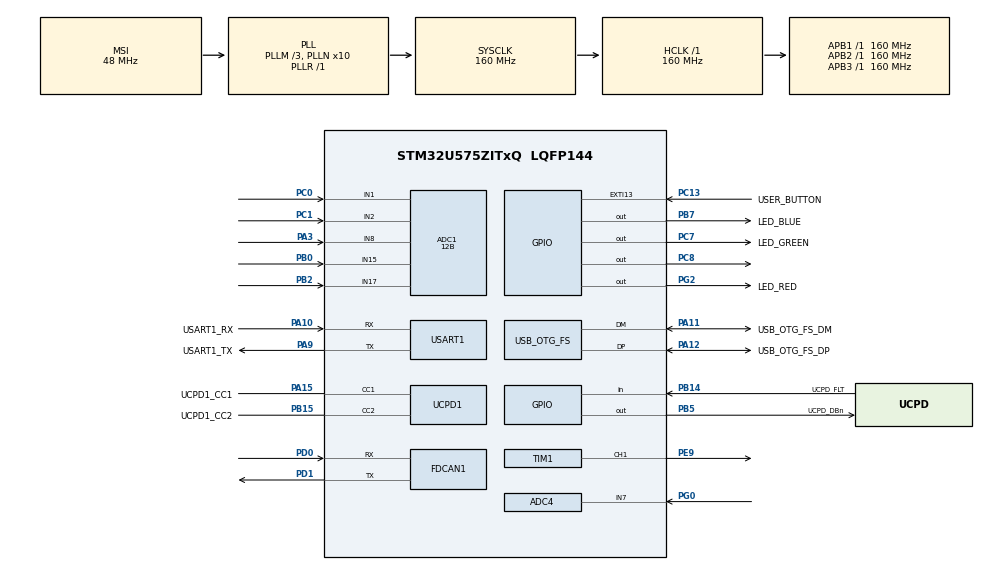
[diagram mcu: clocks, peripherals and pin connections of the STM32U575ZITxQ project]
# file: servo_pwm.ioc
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ADC1.EnableRegularConversion=DISABLE
ADC1.NbrOfConversion=1
ADC1.Resolution=ADC_RESOLUTION_12B
ADC1.master=1
ADC4.NbrOfConversion=1
ADC4.NbrOfConversionFlag=0
ADC4.SelectedChannel=ADC_CHANNEL_7
CORTEX_M33_NS.userName=CORTEX_M33
FDCAN1.AutoRetransmission=ENABLE
FDCAN1.CalculateBaudRateNominal=500000
FDCAN1.CalculateTimeBitNominal=2000
FDCAN1.CalculateTimeQuantumNominal=100.0
FDCAN1.DataPrescaler=1
FDCAN1.DataSyncJumpWidth=16
FDCAN1.DataTimeSeg1=23
FDCAN1.DataTimeSeg2=16
FDCAN1.ExtFiltersNbr=1
FDCAN1.FrameFormat=FDCAN_FRAME_FD_BRS
FDCAN1.NominalPrescaler=4
FDCAN1.NominalSyncJumpWidth=3
FDCAN1.NominalTimeSeg1=16
FDCAN1.NominalTimeSeg2=3
FDCAN1.StdFiltersNbr=1
Mcu.Family=STM32U5
Mcu.Name=STM32U575ZITxQ
Mcu.Package=LQFP144
NVIC.FDCAN1_IT0_IRQn=true\:0\:0\:false\:false\:true\:true\:true\:true
NVIC.OTG_FS_IRQn=true\:0\:0\:false\:false\:true\:true\:true\:true
NVIC.PriorityGroup=NVIC_PRIORITYGROUP_3
PA10.GPIO_Label=USART1_RX
PA10.GPIO_PuPd=GPIO_PULLDOWN
PA10.GPIO_Speed=GPIO_SPEED_FREQ_VERY_HIGH
PA10.Mode=Asynchronous
PA10.Signal=USART1_RX
PA11.GPIO_Label=USB_OTG_FS_DM
PA11.GPIO_Speed=GPIO_SPEED_FREQ_VERY_HIGH
PA11.Mode=Device_Only
PA11.Signal=USB_OTG_FS_DM
PA12.GPIO_Label=USB_OTG_FS_DP
PA12.GPIO_Speed=GPIO_SPEED_FREQ_VERY_HIGH
PA12.Mode=Device_Only
PA12.Signal=USB_OTG_FS_DP
PA13\ (JTMS/SWDIO).Mode=Trace_Asynchronous_SW
PA13\ (JTMS/SWDIO).Signal=DEBUG_JTMS-SWDIO
PA14\ (JTCK/SWCLK).Mode=Trace_Asynchronous_SW
PA14\ (JTCK/SWCLK).Signal=DEBUG_JTCK-SWCLK
PA15\ (JTDI).GPIO_Label=UCPD1_CC1
PA15\ (JTDI).Mode=Sink_AllSignals
PA15\ (JTDI).Signal=UCPD1_CC1
PA3.Mode=IN8-Single-Ended
PA3.Signal=ADC1_IN8
PA9.GPIO_Label=USART1_TX
PA9.GPIO_PuPd=GPIO_PULLDOWN
PA9.GPIO_Speed=GPIO_SPEED_FREQ_VERY_HIGH
PA9.Mode=Asynchronous
PA9.Signal=USART1_TX
PB0.Mode=IN15-Single-Ended
PB0.Signal=ADC1_IN15
PB14.GPIO_Label=UCPD_FLT
PB14.Signal=GPIO_Input
PB15.GPIO_Label=UCPD1_CC2
PB15.Mode=Sink_AllSignals
PB15.Signal=UCPD1_CC2
PB2.Mode=IN17-Single-Ended
PB2.Signal=ADC1_IN17
PB3\ (JTDO/TRACESWO).Mode=Trace_Asynchronous_SW
PB3\ (JTDO/TRACESWO).Signal=DEBUG_JTDO-SWO
PB5.GPIO_Label=UCPD_DBn
PB5.Signal=GPIO_Output
PB7.GPIO_Label=LED_BLUE
PB7.GPIO_ModeDefaultOutputPP=GPIO_MODE_OUTPUT_PP
PB7.GPIO_PuPd=GPIO_PULLUP
PB7.GPIO_Speed=GPIO_SPEED_FREQ_HIGH
PB7.Signal=GPIO_Output
PC0.Mode=IN1-Single-Ended
PC0.Signal=ADC1_IN1
PC1.Mode=IN2-Single-Ended
PC1.Signal=ADC1_IN2
PC13.GPIO_Label=USER_BUTTON
PC13.GPIO_ModeDefaultEXTI=GPIO_MODE_IT_FALLING
PC13.Signal=GPXTI13
PC14-OSC32_IN\ (PC14).Mode=LSE-External-Oscillator
PC14-OSC32_IN\ (PC14).Signal=RCC_OSC32_IN
PC15-OSC32_OUT\ (PC15).Mode=LSE-External-Oscillator
PC15-OSC32_OUT\ (PC15).Signal=RCC_OSC32_OUT
PC7.GPIO_Label=LED_GREEN
PC7.GPIO_PuPd=GPIO_PULLUP
PC7.GPIO_Speed=GPIO_SPEED_FREQ_HIGH
PC7.Signal=GPIO_Output
PC8.Signal=GPIO_Output
PD0.Mode=FDCAN_Activate
PD0.Signal=FDCAN1_RX
PD1.Mode=FDCAN_Activate
PD1.Signal=FDCAN1_TX
PE9.Signal=S_TIM1_CH1
PG0.Mode=IN7
PG0.Signal=ADC4_IN7
PG2.GPIO_Label=LED_RED
PG2.GPIO_ModeDefaultOutputPP=GPIO_MODE_OUTPUT_PP
PG2.GPIO_PuPd=GPIO_PULLUP
PG2.GPIO_Speed=GPIO_SPEED_FREQ_HIGH
PG2.Signal=GPIO_Output
PWR.PowerMode=PWR_SMPS_SUPPLY
ProjectManager.HeapSize=0x200
ProjectManager.StackSize=0x400
ProjectManager.TargetToolchain=STM32CubeIDE
RCC.ADCFreq_Value=16000000
RCC.AHBFreq_Value=160000000
RCC.APB1Freq_Value=160000000
RCC.APB1TimFreq_Value=160000000
RCC.APB2Freq_Value=160000000
RCC.APB2TimFreq_Value=160000000
RCC.APB3Freq_Value=160000000
RCC.CortexFreq_Value=160000000
RCC.DACCLockSelectionVirtual=RCC_DAC1CLKSOURCE_LSI
RCC.EPOD_VALUE=48000000
RCC.HCLKFreq_Value=160000000
RCC.HSE_VALUE=16000000
RCC.HSI48_VALUE=48000000
RCC.HSI_VALUE=16000000
RCC.LSIDIV_VALUE=32000
RCC.MSIClockRange=RCC_MSIRANGE_0
RCC.MSI_VALUE=48000000
RCC.PLL1Q=4
RCC.PLL1R=1
RCC.PLLFRACN=0
RCC.PLLM=3
RCC.PLLN=10
RCC.SYSCLKFreq_VALUE=160000000
RCC.SYSCLKSource=RCC_SYSCLKSOURCE_PLLCLK
RCC.USBFreq_Value=48000000
RCC.VCOOutputFreq_Value=160000000
SH.S_TIM1_CH1.0=TIM1_CH1,PWM Generation1 CH1
TIM1.Channel-PWM\ Generation1\ CH1=TIM_CHANNEL_1
TIM1.PeriodNoDither=19999
TIM1.Prescaler=159
USART1.VirtualMode-Asynchronous=VM_ASYNC
USB_OTG_FS.VirtualMode=Device_Only
VP_ADC1_Vref_Input.Mode=IN-Vrefint
VP_ICACHE_VS_ENABLE_ICACHE_MEMORY.Mode=Memoryregions
VP_ICACHE_VS_ICACHE.Mode=DirectMappedCache
VP_LPBAMQUEUE_VS_QUEUE.Mode=QUEUEMODE
VP_LPBAM_VS_SIG1.Mode=SmartRun
VP_LPBAM_VS_SIG4.Mode=LPDMA1
VP_MEMORYMAP_VS_MEMORYMAP.Mode=CurAppReg
VP_PWR_VS_DBSignals.Mode=DisableDeadBatterySignals
VP_PWR_VS_LPOM.Mode=PowerOptimisation
VP_PWR_VS_SECSignals.Mode=Security/Privilege
VP_PWR_Vdda.Mode=isolationVdda
VP_TIM1_VS_ClockSourceINT.Mode=Internal
board=NUCLEO-U575ZI-Q

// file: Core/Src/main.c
/* USER CODE BEGIN Header */
/**
  ******************************************************************************
  * @file           : main.c
  * @brief          : Main program body
  ******************************************************************************
  * @attention
  *
  * Copyright (c) 2025 STMicroelectronics.
  * All rights reserved.
  *
  * This software is licensed under terms that can be found in the LICENSE file
  * in the root directory of this software component.
  * If no LICENSE file comes with this software, it is provided AS-IS.
  *
  ******************************************************************************
  */
/* USER CODE END Header */
#include "main.h"

/* USER CODE BEGIN Includes */
#include <stdio.h>
#include "can.h"
/* USER CODE END Includes */

ADC_HandleTypeDef hadc1;
ADC_HandleTypeDef hadc4;

FDCAN_HandleTypeDef hfdcan1;

TIM_HandleTypeDef htim1;

UART_HandleTypeDef huart1;

PCD_HandleTypeDef hpcd_USB_OTG_FS;

void SystemClock_Config(void);
static void SystemPower_Config(void);
static void MX_GPIO_Init(void);
static void MX_ADC1_Init(void);
static void MX_ICACHE_Init(void);
static void MX_UCPD1_Init(void);
static void MX_USART1_UART_Init(void);
static void MX_USB_OTG_FS_PCD_Init(void);
static void MX_ADC4_Init(void);
static void MX_FDCAN1_Init(void);
static void MX_TIM1_Init(void);
/* USER CODE BEGIN PFP */
#ifdef __GNUC__
/* With GCC/RAISONANCE, small printf (option LD Linker->Libraries->Small printf
   set to 'Yes') calls __io_putchar() */
#define PUTCHAR_PROTOTYPE int __io_putchar(int ch)
#else
#define PUTCHAR_PROTOTYPE int fputc(int ch, FILE *f)
#endif /* __GNUC__ */
/* USER CODE END PFP */

int main(void)
{

  /* MCU Configuration--------------------------------------------------------*/

  /* Reset of all peripherals, Initializes the Flash interface and the Systick. */
  HAL_Init();

  /* Configure the System Power */
  SystemPower_Config();

  /* Configure the system clock */
  SystemClock_Config();

  /* Initialize all configured peripherals */
  MX_GPIO_Init();
  MX_ADC1_Init();
  MX_ICACHE_Init();
  MX_UCPD1_Init();
  MX_USART1_UART_Init();
  MX_USB_OTG_FS_PCD_Init();
  MX_ADC4_Init();
  MX_FDCAN1_Init();
  MX_TIM1_Init();
  /* USER CODE BEGIN 2 */

  CAN_Init(&hfdcan1);

  	 //.

   	//Adding CAN Filter
   	FDCAN_FilterTypeDef sFilterConfig = {0};
   	sFilterConfig.IdType = FDCAN_STANDARD_ID;
   	sFilterConfig.FilterIndex = 0;
   	sFilterConfig.FilterType = FDCAN_FILTER_MASK;

   	sFilterConfig.FilterConfig = FDCAN_FILTER_TO_RXFIFO0;
   	sFilterConfig.FilterID1 = 0x000;
   	sFilterConfig.FilterID2 = 0x000; // Accept all

   	if (HAL_FDCAN_ConfigFilter(&hfdcan1, &sFilterConfig) != HAL_OK) {
   	    Error_Handler();
   	}

   	sFilterConfig.FilterConfig = FDCAN_FILTER_TO_RXFIFO1;
   	sFilterConfig.FilterID1 = 0x1111111;
   	sFilterConfig.FilterID2 = 0x2222222;

   	//FilterConfig.FilterID2 = 0x7FF; ????

   	  /* Configure global filter:
   	     Filter all remote frames with STD and EXT ID
   	     Reject non matching frames with STD ID and EXT ID */

   	//set an interrupt when a message is sent
   	  if (HAL_FDCAN_ActivateNotification(&hfdcan1, FDCAN_IT_RX_FIFO0_NEW_MESSAGE, 0) != HAL_OK)
   	  {
   	    Error_Handler();
   	  }

   	  if (HAL_FDCAN_ActivateNotification(&hfdcan1, FDCAN_IT_RX_FIFO1_NEW_MESSAGE, 0) != HAL_OK)
   	  {
   	    Error_Handler();
   	  }

  CAN_SetRxBufferSize(64, 64);

  HAL_FDCAN_Start(&hfdcan1);

  HAL_TIM_PWM_Start(&htim1 , TIM_CHANNEL_1); //start the pwm timer pass in the timer handler and the channel

  /* USER CODE END 2 */

  /* Infinite loop */
  /* USER CODE BEGIN WHILE */

  float min_pulse = 0 ;
  float max_pulse = 0 ;
  float pulse = 0 ;
  uint32_t ccr_value =0 ;

  while (1)
  {

	  //printf("Servo PWM code \r\n");
	  printf("pwm : %f \r\n", angle);

	  // we need to map tha angle value that we receive to a value between 1 and 2 ms
	  //The servo reads only the length of the HIGH pulse at the start of each cycle, which varies to set position.
	  //that is why we go between 1 and 2 ms;

	  min_pulse = 500; // ticks for 1 ms
	  max_pulse = 2500; // ticks for 2 ms

	  //-90 would be mapped to min_pulse 1000
	  // +90 would be mapped to max pulse 2000
	  //0 sits at the middle
	  pulse = (min_pulse + ((((angle))+ 90) / 180.0f ) * (max_pulse - min_pulse));
	  ccr_value = (uint32_t)(pulse);

	  printf("the pwm pulse is %lu \r\n", ccr_value);

	  //this function receives an int (how long the timer should be on)
	  __HAL_TIM_SET_COMPARE(&htim1 , TIM_CHANNEL_1, ccr_value );//generate the pwm.S

	  HAL_Delay(1000);

    /* USER CODE END WHILE */

  }
}

void SystemClock_Config(void)
{
  RCC_OscInitTypeDef RCC_OscInitStruct = {0};
  RCC_ClkInitTypeDef RCC_ClkInitStruct = {0};

  /** Configure the main internal regulator output voltage
  */
  if (HAL_PWREx_ControlVoltageScaling(PWR_REGULATOR_VOLTAGE_SCALE1) != HAL_OK)
  {
    Error_Handler();
  }

  /** Initializes the CPU, AHB and APB buses clocks
  */
  RCC_OscInitStruct.OscillatorType = RCC_OSCILLATORTYPE_HSI48|RCC_OSCILLATORTYPE_HSI
                              |RCC_OSCILLATORTYPE_MSI;
  RCC_OscInitStruct.HSIState = RCC_HSI_ON;
  RCC_OscInitStruct.HSI48State = RCC_HSI48_ON;
  RCC_OscInitStruct.HSICalibrationValue = RCC_HSICALIBRATION_DEFAULT;
  RCC_OscInitStruct.MSIState = RCC_MSI_ON;
  RCC_OscInitStruct.MSICalibrationValue = RCC_MSICALIBRATION_DEFAULT;
  RCC_OscInitStruct.MSIClockRange = RCC_MSIRANGE_0;
  RCC_OscInitStruct.PLL.PLLState = RCC_PLL_ON;
  RCC_OscInitStruct.PLL.PLLSource = RCC_PLLSOURCE_MSI;
  RCC_OscInitStruct.PLL.PLLMBOOST = RCC_PLLMBOOST_DIV4;
  RCC_OscInitStruct.PLL.PLLM = 3;
  RCC_OscInitStruct.PLL.PLLN = 10;
  RCC_OscInitStruct.PLL.PLLP = 2;
  RCC_OscInitStruct.PLL.PLLQ = 4;
  RCC_OscInitStruct.PLL.PLLR = 1;
  RCC_OscInitStruct.PLL.PLLRGE = RCC_PLLVCIRANGE_1;
  RCC_OscInitStruct.PLL.PLLFRACN = 0;
  if (HAL_RCC_OscConfig(&RCC_OscInitStruct) != HAL_OK)
  {
    Error_Handler();
  }

  /** Initializes the CPU, AHB and APB buses clocks
  */
  RCC_ClkInitStruct.ClockType = RCC_CLOCKTYPE_HCLK|RCC_CLOCKTYPE_SYSCLK
                              |RCC_CLOCKTYPE_PCLK1|RCC_CLOCKTYPE_PCLK2
                              |RCC_CLOCKTYPE_PCLK3;
  RCC_ClkInitStruct.SYSCLKSource = RCC_SYSCLKSOURCE_PLLCLK;
  RCC_ClkInitStruct.AHBCLKDivider = RCC_SYSCLK_DIV1;
  RCC_ClkInitStruct.APB1CLKDivider = RCC_HCLK_DIV1;
  RCC_ClkInitStruct.APB2CLKDivider = RCC_HCLK_DIV1;
  RCC_ClkInitStruct.APB3CLKDivider = RCC_HCLK_DIV1;

  if (HAL_RCC_ClockConfig(&RCC_ClkInitStruct, FLASH_LATENCY_4) != HAL_OK)
  {
    Error_Handler();
  }
}

/**
  * @brief Power Configuration
  * @retval None
  */
static void SystemPower_Config(void)
{
  HAL_PWREx_EnableVddIO2();

  /*
   * Switch to SMPS regulator instead of LDO
   */
  if (HAL_PWREx_ConfigSupply(PWR_SMPS_SUPPLY) != HAL_OK)
  {
    Error_Handler();
  }
}

static void MX_ADC1_Init(void)
{

  /** Common config
  */
  hadc1.Instance = ADC1;
  hadc1.Init.ClockPrescaler = ADC_CLOCK_ASYNC_DIV1;
  hadc1.Init.Resolution = ADC_RESOLUTION_12B;
  hadc1.Init.GainCompensation = 0;
  hadc1.Init.ScanConvMode = ADC_SCAN_DISABLE;
  hadc1.Init.EOCSelection = ADC_EOC_SINGLE_CONV;
  hadc1.Init.LowPowerAutoWait = DISABLE;
  hadc1.Init.ContinuousConvMode = DISABLE;
  hadc1.Init.NbrOfConversion = 1;
  hadc1.Init.DiscontinuousConvMode = DISABLE;
  hadc1.Init.DMAContinuousRequests = DISABLE;
  hadc1.Init.TriggerFrequencyMode = ADC_TRIGGER_FREQ_HIGH;
  hadc1.Init.Overrun = ADC_OVR_DATA_PRESERVED;
  hadc1.Init.LeftBitShift = ADC_LEFTBITSHIFT_NONE;
  hadc1.Init.ConversionDataManagement = ADC_CONVERSIONDATA_DR;
  hadc1.Init.OversamplingMode = DISABLE;
  if (HAL_ADC_Init(&hadc1) != HAL_OK)
  {
    Error_Handler();
  }

}

static void MX_ADC4_Init(void)
{

  ADC_ChannelConfTypeDef sConfig = {0};

  /** Common config
  */
  hadc4.Instance = ADC4;
  hadc4.Init.ClockPrescaler = ADC_CLOCK_ASYNC_DIV1;
  hadc4.Init.Resolution = ADC_RESOLUTION_12B;
  hadc4.Init.DataAlign = ADC_DATAALIGN_RIGHT;
  hadc4.Init.ScanConvMode = ADC_SCAN_DIRECTION_FORWARD;
  hadc4.Init.EOCSelection = ADC_EOC_SINGLE_CONV;
  hadc4.Init.LowPowerAutoPowerOff = ADC_LOW_POWER_NONE;
  hadc4.Init.LowPowerAutoWait = DISABLE;
  hadc4.Init.ContinuousConvMode = DISABLE;
  hadc4.Init.NbrOfConversion = 1;
  hadc4.Init.DiscontinuousConvMode = DISABLE;
  hadc4.Init.ExternalTrigConv = ADC_SOFTWARE_START;
  hadc4.Init.ExternalTrigConvEdge = ADC_EXTERNALTRIGCONVEDGE_NONE;
  hadc4.Init.DMAContinuousRequests = DISABLE;
  hadc4.Init.TriggerFrequencyMode = ADC_TRIGGER_FREQ_LOW;
  hadc4.Init.Overrun = ADC_OVR_DATA_PRESERVED;
  hadc4.Init.SamplingTimeCommon1 = ADC4_SAMPLETIME_1CYCLE_5;
  hadc4.Init.SamplingTimeCommon2 = ADC4_SAMPLETIME_1CYCLE_5;
  hadc4.Init.OversamplingMode = DISABLE;
  if (HAL_ADC_Init(&hadc4) != HAL_OK)
  {
    Error_Handler();
  }

  /** Configure Regular Channel
  */
  sConfig.Channel = ADC_CHANNEL_7;
  sConfig.Rank = ADC4_RANK_CHANNEL_NUMBER;
  sConfig.SamplingTime = ADC4_SAMPLINGTIME_COMMON_1;
  sConfig.OffsetNumber = ADC_OFFSET_NONE;
  sConfig.Offset = 0;
  if (HAL_ADC_ConfigChannel(&hadc4, &sConfig) != HAL_OK)
  {
    Error_Handler();
  }

}

static void MX_FDCAN1_Init(void)
{

  hfdcan1.Instance = FDCAN1;
  hfdcan1.Init.ClockDivider = FDCAN_CLOCK_DIV1;
  hfdcan1.Init.FrameFormat = FDCAN_FRAME_FD_BRS;
  hfdcan1.Init.Mode = FDCAN_MODE_NORMAL;
  hfdcan1.Init.AutoRetransmission = ENABLE;
  hfdcan1.Init.TransmitPause = DISABLE;
  hfdcan1.Init.ProtocolException = DISABLE;
  hfdcan1.Init.NominalPrescaler = 4;
  hfdcan1.Init.NominalSyncJumpWidth = 3;
  hfdcan1.Init.NominalTimeSeg1 = 16;
  hfdcan1.Init.NominalTimeSeg2 = 3;
  hfdcan1.Init.DataPrescaler = 1;
  hfdcan1.Init.DataSyncJumpWidth = 16;
  hfdcan1.Init.DataTimeSeg1 = 23;
  hfdcan1.Init.DataTimeSeg2 = 16;
  hfdcan1.Init.StdFiltersNbr = 1;
  hfdcan1.Init.ExtFiltersNbr = 1;
  hfdcan1.Init.TxFifoQueueMode = FDCAN_TX_FIFO_OPERATION;
  if (HAL_FDCAN_Init(&hfdcan1) != HAL_OK)
  {
    Error_Handler();
  }

}

static void MX_ICACHE_Init(void)
{

  /** Enable instruction cache in 1-way (direct mapped cache)
  */
  if (HAL_ICACHE_ConfigAssociativityMode(ICACHE_1WAY) != HAL_OK)
  {
    Error_Handler();
  }
  if (HAL_ICACHE_Enable() != HAL_OK)
  {
    Error_Handler();
  }

}

static void MX_TIM1_Init(void)
{

  TIM_ClockConfigTypeDef sClockSourceConfig = {0};
  TIM_MasterConfigTypeDef sMasterConfig = {0};
  TIM_OC_InitTypeDef sConfigOC = {0};
  TIM_BreakDeadTimeConfigTypeDef sBreakDeadTimeConfig = {0};

  htim1.Instance = TIM1;
  htim1.Init.Prescaler = 159;
  htim1.Init.CounterMode = TIM_COUNTERMODE_UP;
  htim1.Init.Period = 19999;
  htim1.Init.ClockDivision = TIM_CLOCKDIVISION_DIV1;
  htim1.Init.RepetitionCounter = 0;
  htim1.Init.AutoReloadPreload = TIM_AUTORELOAD_PRELOAD_DISABLE;
  if (HAL_TIM_Base_Init(&htim1) != HAL_OK)
  {
    Error_Handler();
  }
  sClockSourceConfig.ClockSource = TIM_CLOCKSOURCE_INTERNAL;
  if (HAL_TIM_ConfigClockSource(&htim1, &sClockSourceConfig) != HAL_OK)
  {
    Error_Handler();
  }
  if (HAL_TIM_PWM_Init(&htim1) != HAL_OK)
  {
    Error_Handler();
  }
  sMasterConfig.MasterOutputTrigger = TIM_TRGO_RESET;
  sMasterConfig.MasterOutputTrigger2 = TIM_TRGO2_RESET;
  sMasterConfig.MasterSlaveMode = TIM_MASTERSLAVEMODE_DISABLE;
  if (HAL_TIMEx_MasterConfigSynchronization(&htim1, &sMasterConfig) != HAL_OK)
  {
    Error_Handler();
  }
  sConfigOC.OCMode = TIM_OCMODE_PWM1;
  sConfigOC.Pulse = 0;
  sConfigOC.OCPolarity = TIM_OCPOLARITY_HIGH;
  sConfigOC.OCNPolarity = TIM_OCNPOLARITY_HIGH;
  sConfigOC.OCFastMode = TIM_OCFAST_DISABLE;
  sConfigOC.OCIdleState = TIM_OCIDLESTATE_RESET;
  sConfigOC.OCNIdleState = TIM_OCNIDLESTATE_RESET;
  if (HAL_TIM_PWM_ConfigChannel(&htim1, &sConfigOC, TIM_CHANNEL_1) != HAL_OK)
  {
    Error_Handler();
  }
  sBreakDeadTimeConfig.OffStateRunMode = TIM_OSSR_DISABLE;
  sBreakDeadTimeConfig.OffStateIDLEMode = TIM_OSSI_DISABLE;
  sBreakDeadTimeConfig.LockLevel = TIM_LOCKLEVEL_OFF;
  sBreakDeadTimeConfig.DeadTime = 0;
  sBreakDeadTimeConfig.BreakState = TIM_BREAK_DISABLE;
  sBreakDeadTimeConfig.BreakPolarity = TIM_BREAKPOLARITY_HIGH;
  sBreakDeadTimeConfig.BreakFilter = 0;
  sBreakDeadTimeConfig.BreakAFMode = TIM_BREAK_AFMODE_INPUT;
  sBreakDeadTimeConfig.Break2State = TIM_BREAK2_DISABLE;
  sBreakDeadTimeConfig.Break2Polarity = TIM_BREAK2POLARITY_HIGH;
  sBreakDeadTimeConfig.Break2Filter = 0;
  sBreakDeadTimeConfig.Break2AFMode = TIM_BREAK_AFMODE_INPUT;
  sBreakDeadTimeConfig.AutomaticOutput = TIM_AUTOMATICOUTPUT_DISABLE;
  if (HAL_TIMEx_ConfigBreakDeadTime(&htim1, &sBreakDeadTimeConfig) != HAL_OK)
  {
    Error_Handler();
  }
  HAL_TIM_MspPostInit(&htim1);

}

static void MX_UCPD1_Init(void)
{

  LL_GPIO_InitTypeDef GPIO_InitStruct = {0};

  /* Peripheral clock enable */
  LL_APB1_GRP2_EnableClock(LL_APB1_GRP2_PERIPH_UCPD1);

  LL_AHB2_GRP1_EnableClock(LL_AHB2_GRP1_PERIPH_GPIOB);
  LL_AHB2_GRP1_EnableClock(LL_AHB2_GRP1_PERIPH_GPIOA);
  /**UCPD1 GPIO Configuration
  PB15   ------> UCPD1_CC2
  PA15 (JTDI)   ------> UCPD1_CC1
  */
  GPIO_InitStruct.Pin = LL_GPIO_PIN_15;
  GPIO_InitStruct.Mode = LL_GPIO_MODE_ANALOG;
  GPIO_InitStruct.Pull = LL_GPIO_PULL_NO;
  LL_GPIO_Init(GPIOB, &GPIO_InitStruct);

  GPIO_InitStruct.Pin = LL_GPIO_PIN_15;
  GPIO_InitStruct.Mode = LL_GPIO_MODE_ANALOG;
  GPIO_InitStruct.Pull = LL_GPIO_PULL_NO;
  LL_GPIO_Init(GPIOA, &GPIO_InitStruct);

}

static void MX_USART1_UART_Init(void)
{

  huart1.Instance = USART1;
  huart1.Init.BaudRate = 115200;
  huart1.Init.WordLength = UART_WORDLENGTH_8B;
  huart1.Init.StopBits = UART_STOPBITS_1;
  huart1.Init.Parity = UART_PARITY_NONE;
  huart1.Init.Mode = UART_MODE_TX_RX;
  huart1.Init.HwFlowCtl = UART_HWCONTROL_NONE;
  huart1.Init.OverSampling = UART_OVERSAMPLING_16;
  huart1.Init.OneBitSampling = UART_ONE_BIT_SAMPLE_DISABLE;
  huart1.Init.ClockPrescaler = UART_PRESCALER_DIV1;
  huart1.AdvancedInit.AdvFeatureInit = UART_ADVFEATURE_NO_INIT;
  if (HAL_UART_Init(&huart1) != HAL_OK)
  {
    Error_Handler();
  }
  if (HAL_UARTEx_SetTxFifoThreshold(&huart1, UART_TXFIFO_THRESHOLD_1_8) != HAL_OK)
  {
    Error_Handler();
  }
  if (HAL_UARTEx_SetRxFifoThreshold(&huart1, UART_RXFIFO_THRESHOLD_1_8) != HAL_OK)
  {
    Error_Handler();
  }
  if (HAL_UARTEx_DisableFifoMode(&huart1) != HAL_OK)
  {
    Error_Handler();
  }

}

static void MX_USB_OTG_FS_PCD_Init(void)
{

  hpcd_USB_OTG_FS.Instance = USB_OTG_FS;
  hpcd_USB_OTG_FS.Init.dev_endpoints = 6;
  hpcd_USB_OTG_FS.Init.speed = PCD_SPEED_FULL;
  hpcd_USB_OTG_FS.Init.phy_itface = PCD_PHY_EMBEDDED;
  hpcd_USB_OTG_FS.Init.Sof_enable = DISABLE;
  hpcd_USB_OTG_FS.Init.low_power_enable = DISABLE;
  hpcd_USB_OTG_FS.Init.lpm_enable = DISABLE;
  hpcd_USB_OTG_FS.Init.battery_charging_enable = DISABLE;
  hpcd_USB_OTG_FS.Init.use_dedicated_ep1 = DISABLE;
  hpcd_USB_OTG_FS.Init.vbus_sensing_enable = DISABLE;
  hpcd_USB_OTG_FS.Init.dma_enable = DISABLE;
  if (HAL_PCD_Init(&hpcd_USB_OTG_FS) != HAL_OK)
  {
    Error_Handler();
  }

}

static void MX_GPIO_Init(void)
{
  GPIO_InitTypeDef GPIO_InitStruct = {0};

  /* GPIO Ports Clock Enable */
  __HAL_RCC_GPIOC_CLK_ENABLE();
  __HAL_RCC_GPIOA_CLK_ENABLE();
  __HAL_RCC_GPIOB_CLK_ENABLE();
  __HAL_RCC_GPIOG_CLK_ENABLE();
  __HAL_RCC_GPIOE_CLK_ENABLE();
  __HAL_RCC_GPIOD_CLK_ENABLE();

  /*Configure GPIO pin Output Level */
  HAL_GPIO_WritePin(LED_RED_GPIO_Port, LED_RED_Pin, GPIO_PIN_RESET);

  /*Configure GPIO pin Output Level */
  HAL_GPIO_WritePin(GPIOC, LED_GREEN_Pin|GPIO_PIN_8, GPIO_PIN_RESET);

  /*Configure GPIO pin Output Level */
  HAL_GPIO_WritePin(GPIOB, UCPD_DBn_Pin|LED_BLUE_Pin, GPIO_PIN_RESET);

  /*Configure GPIO pin : USER_BUTTON_Pin */
  GPIO_InitStruct.Pin = USER_BUTTON_Pin;
  GPIO_InitStruct.Mode = GPIO_MODE_IT_FALLING;
  GPIO_InitStruct.Pull = GPIO_NOPULL;
  HAL_GPIO_Init(USER_BUTTON_GPIO_Port, &GPIO_InitStruct);

  /*Configure GPIO pin : UCPD_FLT_Pin */
  GPIO_InitStruct.Pin = UCPD_FLT_Pin;
  GPIO_InitStruct.Mode = GPIO_MODE_INPUT;
  GPIO_InitStruct.Pull = GPIO_NOPULL;
  HAL_GPIO_Init(UCPD_FLT_GPIO_Port, &GPIO_InitStruct);

  /*Configure GPIO pin : LED_RED_Pin */
  GPIO_InitStruct.Pin = LED_RED_Pin;
  GPIO_InitStruct.Mode = GPIO_MODE_OUTPUT_PP;
  GPIO_InitStruct.Pull = GPIO_PULLUP;
  GPIO_InitStruct.Speed = GPIO_SPEED_FREQ_HIGH;
  HAL_GPIO_Init(LED_RED_GPIO_Port, &GPIO_InitStruct);

  /*Configure GPIO pin : LED_GREEN_Pin */
  GPIO_InitStruct.Pin = LED_GREEN_Pin;
  GPIO_InitStruct.Mode = GPIO_MODE_OUTPUT_PP;
  GPIO_InitStruct.Pull = GPIO_PULLUP;
  GPIO_InitStruct.Speed = GPIO_SPEED_FREQ_HIGH;
  HAL_GPIO_Init(LED_GREEN_GPIO_Port, &GPIO_InitStruct);

  /*Configure GPIO pin : PC8 */
  GPIO_InitStruct.Pin = GPIO_PIN_8;
  GPIO_InitStruct.Mode = GPIO_MODE_OUTPUT_PP;
  GPIO_InitStruct.Pull = GPIO_NOPULL;
  GPIO_InitStruct.Speed = GPIO_SPEED_FREQ_LOW;
  HAL_GPIO_Init(GPIOC, &GPIO_InitStruct);

  /*Configure GPIO pin : UCPD_DBn_Pin */
  GPIO_InitStruct.Pin = UCPD_DBn_Pin;
  GPIO_InitStruct.Mode = GPIO_MODE_OUTPUT_PP;
  GPIO_InitStruct.Pull = GPIO_NOPULL;
  GPIO_InitStruct.Speed = GPIO_SPEED_FREQ_LOW;
  HAL_GPIO_Init(UCPD_DBn_GPIO_Port, &GPIO_InitStruct);

  /*Configure GPIO pin : LED_BLUE_Pin */
  GPIO_InitStruct.Pin = LED_BLUE_Pin;
  GPIO_InitStruct.Mode = GPIO_MODE_OUTPUT_PP;
  GPIO_InitStruct.Pull = GPIO_PULLUP;
  GPIO_InitStruct.Speed = GPIO_SPEED_FREQ_HIGH;
  HAL_GPIO_Init(LED_BLUE_GPIO_Port, &GPIO_InitStruct);

}

/* USER CODE BEGIN 4 */
/* USER CODE BEGIN 4 */
PUTCHAR_PROTOTYPE
{
    HAL_UART_Transmit(&huart1, (uint8_t *)&ch, 1, HAL_MAX_DELAY);
    return ch;
}
/* USER CODE END 4 */

void Error_Handler(void)
{
  __disable_irq();
  while (1)
  {
  }
}
